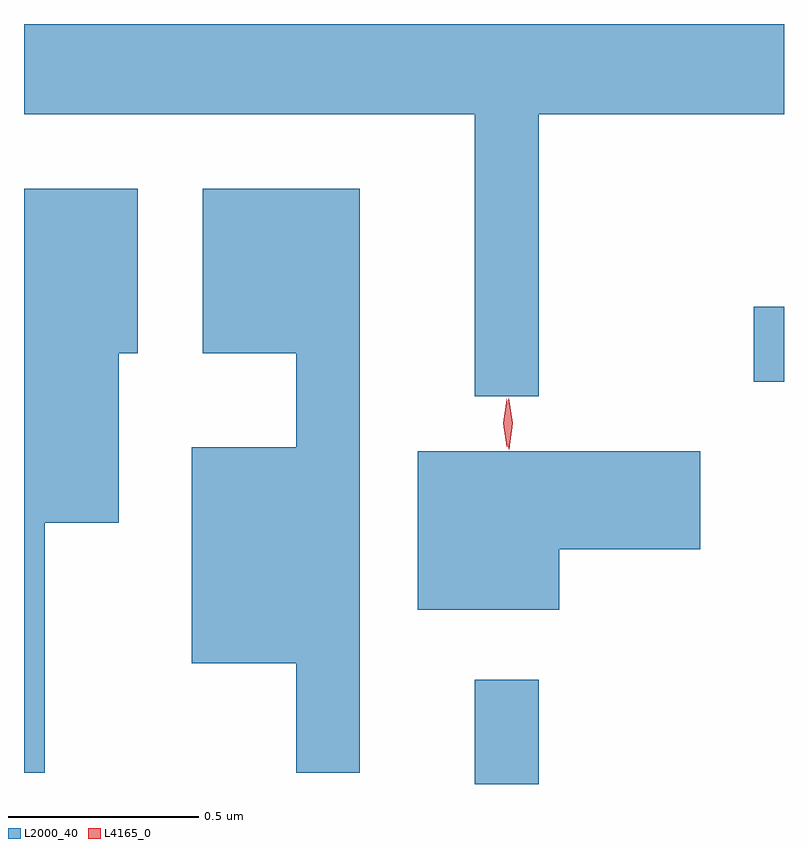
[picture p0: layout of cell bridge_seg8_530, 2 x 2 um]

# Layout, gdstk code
import gdstk
lib = gdstk.Library(unit=1e-6, precision=1e-09)
def R(c, l, rs):  # rectangles x0, y0, x1, y1
    for r in rs: c.add(gdstk.rectangle(r[:2], r[2:], *l))
def P(c, l, *ps):  # polygons
    for p in ps: c.add(gdstk.Polygon(p, *l))
L2000_40 = (2000, 40)
L4165_0 = (4165, 0)

bridge_seg8_530 = lib.new_cell('bridge_seg8_530')
R(bridge_seg8_530, L2000_40, [(210.831,1850.193,210.999,1850.468), (211.566,1851.251,211.645,1851.449)])
P(bridge_seg8_530, L2000_40, [(210.999,1851.956),(211.645,1851.956),(211.645,1852.193),(209.645,1852.193),(209.645,1851.956),(210.831,1851.956),(210.831,1851.213),(210.999,1851.213)],
  [(209.699,1850.881),(209.894,1850.881),(209.894,1851.326),(209.944,1851.326),(209.944,1851.759),(209.645,1851.759),(209.645,1850.223),(209.699,1850.223)],
  [(210.529,1851.759),(210.116,1851.759),(210.116,1851.326),(210.361,1851.326),(210.361,1851.079),(210.086,1851.079),(210.086,1850.511),(210.361,1850.511),(210.361,1850.223),(210.529,1850.223)],
  [(211.054,1850.811),(211.424,1850.811),(211.424,1851.069),(210.681,1851.069),(210.681,1850.651),(211.054,1850.651)])
P(bridge_seg8_530, L4165_0, [(210.921,1851.074),(210.912,1851.142),(210.92,1851.21),(210.921,1851.21),(210.921,1851.21),(210.931,1851.142),(210.922,1851.074),(210.922,1851.074)],
  [(210.916,1851.08),(210.916,1851.08),(210.906,1851.143),(210.915,1851.206),(210.916,1851.207),(210.916,1851.206),(210.926,1851.144),(210.917,1851.08)])

lib.write_gds('bridge_seg8_530.gds')
